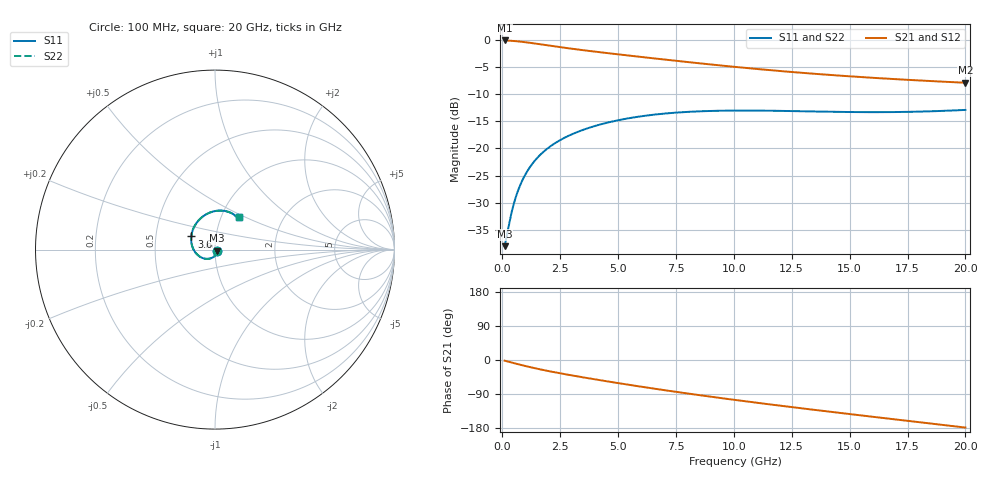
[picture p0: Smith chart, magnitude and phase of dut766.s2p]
! Touchstone file exported from HFSS 2024.1.0
!  File:  C:/UserFiles/LocalFiles/RDL_TSV_Batchsim/temp_RDL_TSV_766_1779901679.aedt
!  Generated:  01:22:29 AM May 28, 2026
!  Design:  RDL_TSV
!  Project:  temp_RDL_TSV_766_1779901679
!  Setup:  Setup1
!  Solution:  Sweep
! Variables:
!  dtsv = 13.79um
!  hbump = 3um
!  htsv = 77.05um
!  ldown = 463.8um
!  lrdl = 245.45um
!  p = 40
!  p1 = 43.79um
!  rhole = 10um
!  subl = 2373.2um
!  t = 450um
!  tdown = 3.19um
!  trdl = 3.28um
!  viad = 10um
!  wdown = 29.88um
!  wrdl = 19.49um
!  xbump = 18um
# GHz S MA R 50.000000
! Terminal data exported
! Port[1] = TM1_1_T1
! Port[2] = TM1_4_T1
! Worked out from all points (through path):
!   200 points, 100 MHz to 20 GHz, reference 50 ohm
!   highest |S21| = -0.10 dB at 100 MHz (marker M1); lowest = -7.9 dB at 20 GHz (marker M2)
!   group delay of S21, straight-line fit = 23.4 ps
!   lowest |S11| = -38.0 dB at 100 MHz (marker M3), VSWR 1.03, Z = 51.1 - j0.612 ohm
!   |S11| at or under -10 dB: start of sweep to end of sweep
!   |S22| runs from -38.0 to -12.9 dB; largest |S21 - S12| = 1.5e-14
!   S11 on the Smith chart (normalised r, x): 100 MHz: 1.02, -0.01; 3.6 GHz: 0.76, +0.11; 20 GHz: 1.22, +0.46
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0.1  0.01257 -28.5  0.988 -1.7  0.988 -1.7  0.01257 -28.5
! Gamma 0 0 0 0
! Port Impedance 50 0 50 0
0.4  0.02572 -77.3  0.9803 -6.7  0.9803 -6.7  0.02572 -77.3
0.6  0.03653 -94.9  0.9725 -9.9  0.9725 -9.9  0.03653 -94.9
0.9  0.05256 -114.4  0.9575 -14.5  0.9575 -14.5  0.05256 -114.4
1.2  0.06758 -130.2  0.9397 -18.8  0.9397 -18.8  0.06758 -130.2
1.6  0.08569 -148.0  0.9139 -24.2  0.9139 -24.2  0.08569 -148.0
2.1  0.1054 -166.8  0.8816 -30.4  0.8816 -30.4  0.1054 -166.8
2.7  0.1258 174.1  0.8456 -37.3  0.8456 -37.3  0.1258 174.1
3.5  0.1486 153.3  0.8033 -45.9  0.8033 -45.9  0.1486 153.3
3.6  0.1512 151.0  0.7984 -46.9  0.7984 -46.9  0.1512 151.0
4.3  0.1677 136.3  0.766 -54.1  0.766 -54.1  0.1677 136.3
5.1  0.1835 122.1  0.7318 -61.9  0.7318 -61.9  0.1835 122.1
5.9  0.1964 110.2  0.7 -69.5  0.7 -69.5  0.1963 110.2
6.8  0.2074 98.8  0.6663 -77.8  0.6663 -77.8  0.2073 98.9
8.4  0.2192 83.0  0.612 -91.8  0.612 -91.8  0.219 83.1
10.1  0.2233 70.9  0.5624 -105.8  0.5624 -105.8  0.2231 71.0
11.7  0.2223 63.0  0.5231 -118.3  0.5231 -118.3  0.2221 63.1
13.4  0.2191 57.5  0.4886 -131.0  0.4886 -131.0  0.2188 57.7
15  0.2164 54.6  0.4618 -142.7  0.4618 -142.7  0.2162 54.8
16.7  0.216 53.3  0.4382 -154.9  0.4382 -154.9  0.2158 53.6
18.3  0.2191 53.0  0.4196 -166.2  0.4196 -166.2  0.2191 53.4
20  0.2264 53.1  0.4028 -178.3  0.4028 -178.3  0.2265 53.4
